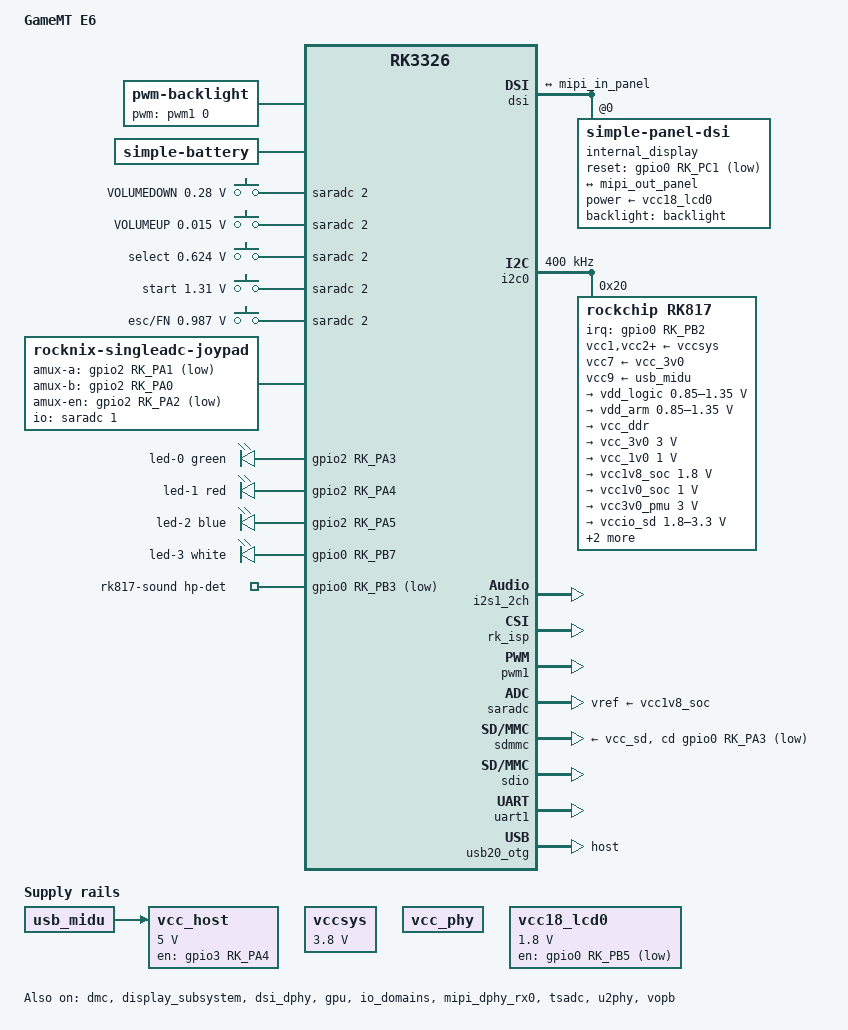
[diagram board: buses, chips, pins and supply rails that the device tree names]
// SPDX-License-Identifier: (GPL-2.0+ OR MIT)
/*
 * GameMT E6 (RK3326S / PX30S) — ported from 6.18 DTS for ROCKNIX 5.10 BSP.
 *
 * Copyright (C) 2022-26 AURKNIX (https://github.com/AveyondFly)
 */

/dts-v1/;
#include <dt-bindings/display/drm_mipi_dsi.h>
#include <dt-bindings/gpio/gpio.h>
#include <dt-bindings/input/input.h>
#include <dt-bindings/leds/common.h>
#include <dt-bindings/pinctrl/rockchip.h>
#include <dt-bindings/soc/rockchip-system-status.h>
#include "rk3326.dtsi"

/ {
	model = "GameMT E6";
	compatible = "gmmt,e6", "rockchip,rk3326";
	
	aliases {
		mmc0 = &sdmmc;
		mmc1 = &emmc;
		mmc2 = &sdio;
	};
	
	chosen {
		systemd.debug_shell = "ttyS0";
	};

	reserved-memory {
		#address-cells = <2>;
		#size-cells = <2>;
		ranges;

		drm_logo: drm-logo@00000000 {
			compatible = "rockchip,drm-logo";
			reg = <0x0 0x0 0x0 0x0>;
		};
	};
	
	backlight: backlight {
		compatible = "pwm-backlight";
		pwms = <&pwm1 0 25000 0>;
		brightness-levels = <
		0   1   2   3   4   5   6   7
		8   9  10  11  12  13  14  15
		16  17  18  19  20  21  22  23
		24  25  26  27  28  29  30  31
		32  33  34  35  36  37  38  39
		40  41  42  43  44  45  46  47
		48  49  50  51  52  53  54  55
		56  57  58  59  60  61  62  63
		64  65  66  67  68  69  70  71
		72  73  74  75  76  77  78  79
		80  81  82  83  84  85  86  87
		88  89  90  91  92  93  94  95
		96  97  98  99 100 101 102 103
		104 105 106 107 108 109 110 111
		112 113 114 115 116 117 118 119
		120 121 122 123 124 125 126 127
		128 129 130 131 132 133 134 135
		136 137 138 139 140 141 142 143
		144 145 146 147 148 149 150 151
		152 153 154 155 156 157 158 159
		160 161 162 163 164 165 166 167
		168 169 170 171 172 173 174 175
		176 177 178 179 180 181 182 183
		184 185 186 187 188 189 190 191
		192 193 194 195 196 197 198 199
		200 201 202 203 204 205 206 207
		208 209 210 211 212 213 214 215
		216 217 218 219 220 221 222 223
		224 225 226 227 228 229 230 231
		232 233 234 235 236 237 238 239
		240 241 242 243 244 245 246 247
		248 249 250 251 252 253 254 255>;
		default-brightness-level = <128>;
	};
	
	battery: battery {
		compatible = "simple-battery";
		charge-full-design-microamp-hours = <3000000>;
		charge-term-current-microamp = <200000>;
		constant-charge-current-max-microamp = <1500000>;
		constant-charge-voltage-max-microvolt = <4200000>;
		factory-internal-resistance-micro-ohms = <100000>;
		voltage-max-design-microvolt = <4100000>;
		voltage-min-design-microvolt = <3300000>;
		
		ocv-capacity-celsius = <20>;
		ocv-capacity-table-0 =
		<4046950 100>, <4001920 95>, <3967900 90>, <3940000 85>,
		<3910000 80>, <3870000 75>, <3830000 70>, <3790000 65>,
		<3750000 60>, <3720000 55>, <3690000 50>, <3650000 45>,
		<3610000 40>, <3570000 35>, <3540000 30>, <3500000 25>,
		<3460000 20>, <3420000 15>, <3380000 10>, <3340000 5>,
		<3300000 0>;
	};
	
	adc_keys: adc-keys {
		compatible = "adc-keys";
		io-channels = <&saradc 2>;
		io-channel-names = "buttons";
		keyup-threshold-microvolt = <1800000>;
		poll-interval = <60>;
		
		vol-down-key {
			label = "VOLUMEDOWN";
			linux,code = <KEY_VOLUMEDOWN>;
			press-threshold-microvolt = <280000>;
		};
		
		vol-up-key {
			label = "VOLUMEUP";
			linux,code = <KEY_VOLUMEUP>;
			press-threshold-microvolt = <15000>;
		};
		select-key {
			label = "select";
			linux,code = <KEY_RIGHTSHIFT>;
			press-threshold-microvolt = <624000>;
		};
		
		start-key {
			label = "start";
			linux,code = <KEY_ENTER>;
			press-threshold-microvolt = <1310000>;//<987000>;
		};
		
		fn-key {
			label = "esc/FN";
			linux,code = <KEY_ESC>;
			press-threshold-microvolt = <987000>;//<1310000>;
		};
	};
	
	joypad: rocknix-singleadc-joypad {
		compatible = "rocknix-singleadc-joypad";
		
		joypad-name = "retrogame_joypad";
		joypad-product = <0x1101>;
		joypad-revision = <0x0100>;
		joypad-vendor = <0x484B>;
		
		status = "okay";
		
		/* gpio pincontrol setup */
		pinctrl-names = "default";
		pinctrl-0 = <&btn_pins_ctrl>;
		
		/* Analog mux define */
		io-channel-names = "amux_adc";
		io-channels = <&saradc 1>;
		
		/* adc mux channel count */
		amux-count = <4>;
		amux-channel-mapping = <0 1 2 3>;
		/* adc mux select(a,b) gpio */
		amux-a-gpios = <&gpio2 RK_PA1 GPIO_ACTIVE_LOW>;
		amux-b-gpios = <&gpio2 RK_PA0 GPIO_ACTIVE_HIGH>;
		/* adc mux enable gpio */
		amux-en-gpios = <&gpio2 RK_PA2 GPIO_ACTIVE_LOW>;
		
		/* adc calculate scale */
		button-adc-scale = <2>;
		
		/* adc deadzone range  */
		button-adc-deadzone = <64>;
		
		/*
		specifies fuzz value that is used to filter noise from
		the event stream.
		*/
		button-adc-fuzz = <32>;
		button-adc-flat = <32>;
		
		/*
		Analog Stick data tuning value(precent)
		p = positive direction, n = negative direction
		report value = (real_adc_data * tuning_value) / 100
		*/
		abs_x-p-tuning = <200>;
		abs_x-n-tuning = <800>;
		
		abs_y-p-tuning = <200>;
		abs_y-n-tuning = <800>;
		
		abs_rx-p-tuning = <800>;
		abs_rx-n-tuning = <1000>;
		
		abs_ry-p-tuning = <800>;
		abs_ry-n-tuning = <1400>;
		
		/* poll device interval (ms), adc read interval */
		poll-interval = <10>;
		
		/* gpio button auto repeat set value : default disable */
		/*
		autorepeat;
		*/
		
		sw1 {
			gpios = <&gpio3 RK_PD1 GPIO_ACTIVE_LOW>;
			label = "GPIO DPAD-UP";
			linux,code = <BTN_DPAD_UP>;
		};
		sw2 {
			gpios = <&gpio3 RK_PD2 GPIO_ACTIVE_LOW>;
			label = "GPIO DPAD-DOWN";
			linux,code = <BTN_DPAD_DOWN>;
		};
		sw3 {
			gpios = <&gpio3 RK_PB5 GPIO_ACTIVE_LOW>;
			label = "GPIO DPAD-LEFT";
			linux,code = <BTN_DPAD_LEFT>;
		};
		sw4 {
			gpios = <&gpio3 RK_PD0 GPIO_ACTIVE_LOW>;
			label = "GPIO DPAD-RIGHT";
			linux,code = <BTN_DPAD_RIGHT>;
		};
		sw5 {
			gpios = <&gpio3 RK_PC4 GPIO_ACTIVE_LOW>;
			label = "GPIO BTN-A";
			linux,code = <BTN_EAST>;
		};
		sw6 {
			gpios = <&gpio3 RK_PC5 GPIO_ACTIVE_LOW> ;
			label = "GPIO BTN-B";
			linux,code = <BTN_SOUTH>;
		};
		sw7 {
			gpios = <&gpio3 RK_PB3 GPIO_ACTIVE_LOW>;
			label = "GPIO BTN-Y";
			linux,code = <BTN_WEST>;
		};
		sw8 {
			gpios = <&gpio3 RK_PB2 GPIO_ACTIVE_LOW>;
			label = "GPIO BTN-X";
			linux,code = <BTN_NORTH>;
		};
		sw9 {
			gpios = <&gpio3 RK_PB4 GPIO_ACTIVE_LOW>;
			label = "GPIO F2";
			linux,code = <BTN_MODE>;//<BTN_TRIGGER_HAPPY2>;
		};
		sw10 {
			gpios = <&gpio0 RK_PC2 GPIO_ACTIVE_LOW>;
			label = "GPIO F4";
			linux,code = <BTN_SELECT>;//<BTN_TRIGGER_HAPPY4>;
		};
		/* this sw11 entry is SPECIAL, most RK3566 devices do not have
		this physical button but for the sake of keeping compatibility
		with ES and retroarch, this phantom button and offset will
		allow existing userspace programs to work without doing any
		new remapping thus saving lots of headaches and extra work */
		sw11 {
			gpios = <&gpio3 RK_PA7 GPIO_ACTIVE_LOW>;
			label = "GPIO BTN_F3";
			linux,code = <BTN_START>;//<BTN_TRIGGER_HAPPY1>;
		};
		sw12 {
			gpios = <&gpio2 RK_PB1 GPIO_ACTIVE_LOW>;
			label = "BTN_THUMBL";
			linux,code = <BTN_THUMBL>;
		};
		sw13 {
			gpios = <&gpio2 RK_PB2 GPIO_ACTIVE_LOW>;
			label = "BTN_THUMBR";
			linux,code = <BTN_THUMBR>;
		};
		sw14 {
			gpios = <&gpio3 RK_PC1 GPIO_ACTIVE_LOW>;
			label = "GPIO BTN_TR";
			linux,code = <BTN_TR>;
		};
		sw15 {
			gpios = <&gpio3 RK_PC0 GPIO_ACTIVE_LOW>;
			label = "GPIO BTN_TR2";
			linux,code = <BTN_TR2>;
		};
		sw16 {
			gpios = <&gpio3 RK_PC3 GPIO_ACTIVE_LOW>;
			label = "GPIO BTN_TL";
			linux,code = <BTN_TL>;
		};
		sw17 {
			gpios = <&gpio3 RK_PC2 GPIO_ACTIVE_LOW>;
			label = "GPIO BTN_TL2";
			linux,code = <BTN_TL2>;
		};
	};
	
	
	leds: gpio-leds {
		compatible = "gpio-leds";
		pinctrl-0 = <&led_pins>;
		pinctrl-names = "default";
		
		led-0 {
			color = <LED_COLOR_ID_GREEN>;
			default-state = "off";
			function = LED_FUNCTION_STATUS;
			gpios = <&gpio2 RK_PA3 GPIO_ACTIVE_HIGH>;
		};
		
		led-1 {
			color = <LED_COLOR_ID_RED>;
			default-state = "off";
			function = LED_FUNCTION_CHARGING;
			gpios = <&gpio2 RK_PA4 GPIO_ACTIVE_HIGH>;
		};
		led-2 {
			color = <LED_COLOR_ID_BLUE>;
			default-state = "off";
			function = LED_FUNCTION_STATUS;
			gpios = <&gpio2 RK_PA5 GPIO_ACTIVE_HIGH>;
		};
		led-3 {
			color = <LED_COLOR_ID_WHITE>;
			default-state = "off";
			function = LED_FUNCTION_STATUS;
			gpios = <&gpio0 RK_PB7 GPIO_ACTIVE_HIGH>;
		};
	};
	
	
	rk817-sound {
		compatible = "rockchip,multicodecs-card";
		rockchip,card-name = "rockchip-rk817";
		hp-det-gpio = <&gpio0 RK_PB3 GPIO_ACTIVE_LOW>;
		rockchip,format = "i2s";
		rockchip,mclk-fs = <256>;
		rockchip,cpu = <&i2s1_2ch>;
		rockchip,codec = <&rk817_codec>;
		pinctrl-names = "default";
		pinctrl-0 = <&hp_det>;
		/* 5.10 rk817 codec only exposes HPOL/HPOR outputs */
		rockchip,audio-routing =
			"Headphone", "HPOL",
			"Headphone", "HPOR",
			"Speaker", "HPOL",
			"Speaker", "HPOR";
	};
	
	vccsys: vccsys {
		compatible = "regulator-fixed";
		regulator-name = "vcc3v8_sys";
		regulator-always-on;
		regulator-min-microvolt = <3800000>;
		regulator-max-microvolt = <3800000>;
	};
	
	vcc-phy-regulator {
		compatible = "regulator-fixed";
		regulator-name = "vcc_phy";
		regulator-always-on;
		regulator-boot-on;
	};
	
	vcc_host: vcc_host {
		compatible = "regulator-fixed";
		regulator-name = "vcc_host";
		regulator-min-microvolt = <5000000>;
		regulator-max-microvolt = <5000000>;
		gpio = <&gpio3 RK_PA4 GPIO_ACTIVE_HIGH>;
		pinctrl-0 = <&vcc5_usb>;
		pinctrl-names = "default";
		enable-active-high;
		regulator-always-on;
		regulator-boot-on;
		vin-supply = <&usb_midu>;
	};

	/* Match vendor rk3326s_orig: enable-active-low (NOT enable-active-high).
	 * For regulator-fixed, gpiolib ignores GPIO_ACTIVE_* in the phandle and
	 * uses only presence/absence of enable-active-high for polarity.
	 */
	vcc18_lcd0: vcc18-lcd0 {
		compatible = "regulator-fixed";
		regulator-name = "vcc18_lcd_n";
		regulator-min-microvolt = <1800000>;
		regulator-max-microvolt = <1800000>;
		gpio = <&gpio0 RK_PB5 GPIO_ACTIVE_LOW>;
		enable-active-low;
		pinctrl-0 = <&lcd_en>;
		pinctrl-names = "default";
		regulator-boot-on;

		regulator-state-mem {
			regulator-off-in-suspend;
		};
	};
};

&dmc {
	center-supply = <&vdd_logic>;
	system-status-freq = <
		/* system status         freq(KHz) — px30s-dmc-opp: 194/328/666 */
		SYS_STATUS_NORMAL       666000
		SYS_STATUS_REBOOT       328000
		SYS_STATUS_SUSPEND      194000
		SYS_STATUS_VIDEO_1080P  666000
		SYS_STATUS_BOOST        666000
		SYS_STATUS_ISP          666000
		SYS_STATUS_PERFORMANCE  666000
	>;
	auto-min-freq = <328000>;
	auto-freq-en = <0>;
	status = "okay";
};

&bus_apll {
	bus-supply = <&vdd_logic>;
	status = "okay";
};

&cpu0 {
	cpu-supply = <&vdd_arm>;
};

&cpu1 {
	cpu-supply = <&vdd_arm>;
};

&cpu2 {
	cpu-supply = <&vdd_arm>;
};

&cpu3 {
	cpu-supply = <&vdd_arm>;
};

&cru {
	assigned-clocks = <&cru PLL_NPLL>,
	<&cru ACLK_BUS_PRE>, <&cru ACLK_PERI_PRE>,
	<&cru HCLK_BUS_PRE>, <&cru HCLK_PERI_PRE>,
	<&cru PCLK_BUS_PRE>, <&cru SCLK_GPU>;
	
	assigned-clock-rates = <1188000000>,
	<200000000>, <200000000>,
	<150000000>, <150000000>,
	<100000000>, <200000000>;
};

&display_subsystem {
	status = "okay";
	logo-memory-region = <&drm_logo>;

	route {
		route_lvds: route-lvds {
			status = "disabled";
			logo,uboot = "logo.bmp";
			logo,kernel = "logo_kernel.bmp";
			logo,mode = "center";
			charge_logo,mode = "center";
			connect = <&vopb_out_lvds>;
		};

		route_dsi: route-dsi {
			status = "okay";
			logo,uboot = "logo.bmp";
			logo,kernel = "logo_kernel.bmp";
			logo,mode = "center";
			charge_logo,mode = "center";
			connect = <&vopb_out_dsi>;
		};

		route_rgb: route-rgb {
			status = "disabled";
			logo,uboot = "logo.bmp";
			logo,kernel = "logo_kernel.bmp";
			logo,mode = "center";
			charge_logo,mode = "center";
			connect = <&vopb_out_rgb>;
		};
	};
};

&dsi {
	status = "okay";
	
	ports {
		mipi_out: port@1 {
			reg = <1>;
			
			mipi_out_panel: endpoint {
				remote-endpoint = <&mipi_in_panel>;
			};
		};
	};
	
	/* Match vendor rk3326s_orig.dts: simple-panel-dsi + vcc18_lcd_n */
	internal_display: panel@0 {
		compatible = "simple-panel-dsi";
		reg = <0>;
		backlight = <&backlight>;
		power-supply = <&vcc18_lcd0>;
		reset-gpios = <&gpio0 RK_PC1 GPIO_ACTIVE_LOW>;
		pinctrl-names = "default";
		pinctrl-0 = <&lcd_rst>;
		rotation = <90>;

		prepare-delay-ms = <120>;
		reset-delay-ms = <200>;
		init-delay-ms = <120>;
		enable-delay-ms = <20>;
		disable-delay-ms = <20>;
		unprepare-delay-ms = <120>;

		width-mm = <64>;
		height-mm = <48>;

		dsi,flags = <(MIPI_DSI_MODE_VIDEO | MIPI_DSI_MODE_VIDEO_BURST |
			      MIPI_DSI_MODE_EOT_PACKET | MIPI_DSI_MODE_LPM)>;
		dsi,format = <MIPI_DSI_FMT_RGB888>;
		dsi,lanes = <2>;

		/* Same init as vendor / previously working generic-dsi seq */
		panel-init-sequence = [
			39 00 04 b9 f1 08 01
			39 00 05 b1 22 1e 1e 87
			15 00 02 b2 22
			39 00 09 b3 01 00 06 06 18 13 39 35
			39 00 12 ba 31 00 44 25 91 0a 00 00 c1 00 00 00 0d 02 4f b9 ee
			39 00 06 e3 05 05 01 01 00
			15 00 02 b4 02
			39 00 03 b5 05 05
			39 00 03 b6 a9 a9
			39 00 03 b8 64 20
			15 00 02 cc 02
			15 00 02 bc 47
			/* vendor len=0x34 (one extra trailing 00 vs old generic-dsi) */
			39 00 34 e9 00 00 05 03 66 0a 80 12 30 00 37 07 0a 80
				37 00 06 01 00 00 00 08 20 24 69 98 80 48 88 88
				88 31 35 79 98 81 58 88 88 88 00 00 00 00 00 00
				00 00 00 00 00
			39 00 23 e0 00 02 07 14 16 30 10 2d 07 0c 0d 0e 12 11 13
				18 1c 00 02 07 30 20 30 10 2d 07 0c 0d 12 12 11 13
				0c 15
			05 c8 01 11
			05 64 01 29
		];

		panel-exit-sequence = [
			05 10 01 28
			05 20 01 10
		];

		display-timings {
			native-mode = <&timing0>;

			timing0: timing0 {
				clock-frequency = <28000000>;
				hactive = <480>;
				vactive = <854>;
				hfront-porch = <14>;
				hsync-len = <2>;
				hback-porch = <24>;
				vfront-porch = <20>;
				vsync-len = <2>;
				vback-porch = <15>;
				hsync-active = <0>;
				vsync-active = <0>;
				de-active = <0>;
				pixelclk-active = <0>;
			};
		};

		port {
			mipi_in_panel: endpoint {
				remote-endpoint = <&mipi_out_panel>;
			};
		};
	};
};

&dsi_dphy {
	compatible = "rockchip,px30s-dsi-dphy", "rockchip,px30-dsi-dphy";
	status = "okay";
};

&gpu {
	mali-supply = <&vdd_logic>;
	status = "okay";
};

&i2c0 {
	clock-frequency = <400000>;
	i2c-scl-falling-time-ns = <16>;
	i2c-scl-rising-time-ns = <280>;
	status = "okay";
	
	rk817: pmic@20 {
		compatible = "rockchip,rk817";
		reg = <0x20>;
		interrupt-parent = <&gpio0>;
		interrupts = <RK_PB2 IRQ_TYPE_LEVEL_LOW>;
		clock-output-names = "rk808-clkout1", "xin32k";
		pinctrl-names = "default";
		pinctrl-0 = <&pmic_int>;
		rockchip,system-power-controller;
		wakeup-source;
		#clock-cells = <1>;
		
		vcc1-supply = <&vccsys>;
		vcc2-supply = <&vccsys>;
		vcc3-supply = <&vccsys>;
		vcc4-supply = <&vccsys>;
		vcc5-supply = <&vccsys>;
		vcc6-supply = <&vccsys>;
		vcc7-supply = <&vcc_3v0>;
		vcc8-supply = <&vccsys>;
		vcc9-supply = <&usb_midu>;
		
		regulators {
			vdd_logic: DCDC_REG1 {
				regulator-name = "vdd_logic";
				regulator-min-microvolt = <850000>;
				regulator-max-microvolt = <1350000>;
				regulator-ramp-delay = <6001>;
				regulator-initial-mode = <0x2>;
				regulator-always-on;
				regulator-boot-on;
				
				regulator-state-mem {
					regulator-on-in-suspend;
					regulator-suspend-microvolt = <950000>;
				};
			};
			
			vdd_arm: DCDC_REG2 {
				regulator-name = "vdd_arm";
				regulator-min-microvolt = <850000>;
				regulator-max-microvolt = <1350000>;
				regulator-ramp-delay = <6001>;
				regulator-initial-mode = <0x2>;
				regulator-always-on;
				regulator-boot-on;
				
				regulator-state-mem {
					regulator-off-in-suspend;
					regulator-suspend-microvolt = <950000>;
				};
			};
			
			vcc_ddr: DCDC_REG3 {
				regulator-name = "vcc_ddr";
				regulator-initial-mode = <0x2>;
				regulator-always-on;
				regulator-boot-on;
				
				regulator-state-mem {
					regulator-on-in-suspend;
				};
			};
			
			vcc_3v0: DCDC_REG4 {
				regulator-name = "vcc_3v0";
				regulator-min-microvolt = <3000000>;
				regulator-max-microvolt = <3000000>;
				regulator-initial-mode = <0x2>;
				regulator-always-on;
				regulator-boot-on;
				
				regulator-state-mem {
					regulator-off-in-suspend;
					regulator-suspend-microvolt = <3000000>;
				};
			};
			
			vcc_1v0: LDO_REG1 {
				regulator-name = "vcc_1v0";
				regulator-always-on;
				regulator-boot-on;
				regulator-min-microvolt = <1000000>;
				regulator-max-microvolt = <1000000>;
				
				regulator-state-mem {
					regulator-on-in-suspend;
					regulator-suspend-microvolt = <1000000>;
				};
			};
			
			vcc1v8_soc: LDO_REG2 {
				regulator-name = "vcc1v8_soc";
				regulator-min-microvolt = <1800000>;
				regulator-max-microvolt = <1800000>;
				regulator-always-on;
				regulator-boot-on;
				
				regulator-state-mem {
					regulator-on-in-suspend;
					regulator-suspend-microvolt = <1800000>;
				};
			};
			
			vcc1v0_soc: LDO_REG3 {
				regulator-name = "vcc1v0_soc";
				regulator-min-microvolt = <1000000>;
				regulator-max-microvolt = <1000000>;
				regulator-always-on;
				regulator-boot-on;
				
				regulator-state-mem {
					regulator-on-in-suspend;
					regulator-suspend-microvolt = <1000000>;
				};
			};
			
			vcc3v0_pmu: LDO_REG4 {
				regulator-name = "vcc3v0_pmu";
				regulator-min-microvolt = <3000000>;
				regulator-max-microvolt = <3000000>;
				regulator-always-on;
				regulator-boot-on;
				
				regulator-state-mem {
					regulator-on-in-suspend;
					regulator-suspend-microvolt = <3000000>;
				};
			};
			
			vccio_sd: LDO_REG5 {
				regulator-name = "vccio_sd";
				regulator-min-microvolt = <1800000>;
				regulator-max-microvolt = <3300000>;
				regulator-always-on;
				regulator-boot-on;
				
				regulator-state-mem {
					regulator-on-in-suspend;
					regulator-suspend-microvolt = <3300000>;
				};
			};
			
			vcc_sd: LDO_REG6 {
				regulator-name = "vcc_sd";
				regulator-min-microvolt = <2800000>;
				regulator-max-microvolt = <3000000>;
				regulator-always-on;
				regulator-boot-on;

				regulator-state-mem {
					regulator-on-in-suspend;
					regulator-suspend-microvolt = <3000000>;
				};
			};
			
			vcc2v8_dvp: LDO_REG7 {
				regulator-name = "vcc2v8_dvp";
				regulator-min-microvolt = <2800000>;
				regulator-max-microvolt = <2800000>;
				regulator-boot-on;
				
				regulator-state-mem {
					regulator-off-in-suspend;
					regulator-suspend-microvolt = <2800000>;
				};
			};
			
			vcc1v8_dvp: LDO_REG8 {
				regulator-name = "vcc1v8_dvp";
				regulator-min-microvolt = <1800000>;
				regulator-max-microvolt = <1800000>;
				regulator-boot-on;
				
				regulator-state-mem {
					regulator-off-in-suspend;
					regulator-suspend-microvolt = <1800000>;
				};
			};
			
			vdd1v5_dvp: LDO_REG9 {
				regulator-min-microvolt = <1500000>;
				regulator-max-microvolt = <1500000>;
				regulator-name = "vdd1v5_dvp";
				regulator-boot-on;
				
				regulator-state-mem {
					regulator-off-in-suspend;
					regulator-suspend-microvolt = <1500000>;
				};
			};
			
			usb_midu: BOOST {
				regulator-name = "usb_midu";
				regulator-min-microvolt = <4700000>;
				regulator-max-microvolt = <5400000>;
				regulator-always-on;
				regulator-boot-on;
			};

			otg_switch: OTG_SWITCH {
				regulator-name = "otg_switch";

				regulator-state-mem {
					regulator-off-in-suspend;
				};
			};
			
		};
		
		battery {
			compatible = "rk817,battery";
			/* Derived from 6.18 simple-battery OCV table (uV -> mV) */
			ocv_table = <4047 4002 3968 3940 3910 3870 3830 3790
				     3750 3720 3690 3650 3610 3570 3540 3500
				     3460 3420 3380 3340 3300>;
			design_capacity = <3000>;
			design_qmax = <3300>;
			bat_res = <100>;
			sleep_enter_current = <300>;
			sleep_exit_current = <300>;
			sleep_filter_current = <100>;
			power_off_thresd = <3300>;
			zero_algorithm_vol = <3850>;
			max_soc_offset = <60>;
			monitor_sec = <5>;
			sample_res = <10>;
			virtual_power = <0>;
			fb_temperature = <105>;
			energy_mode = <0>;
			zero_reserve_dsoc = <10>;
			low_power_sleep = <0>;
		};
		
		rk817_charger: charger {
			compatible = "rk817,charger";
			min_input_voltage = <4500>;
			max_input_current = <1500>;
			max_chrg_current = <1500>;
			max_chrg_voltage = <4200>;
			chrg_term_mode = <0>;
			chrg_finish_cur = <200>;
			virtual_power = <0>;
			dc_det_adc = <0>;
			otg5v_suspend_enable = <1>;
			power_dc2otg = <0>;
			gate_function_disable = <1>;
			extcon = <&u2phy>;
			sample_res = <10>;
			/* USB is host-mode; use PMIC PLUG_IN_STS for charge UI */
			rockchip,charger-use-pmic-plug;
			rocknix,fixed-usb-host-vbus;
		};
		
		rk817_codec: codec {
			compatible = "rockchip,rk817-codec";
			#sound-dai-cells = <0>;
			clocks = <&cru SCLK_I2S1_OUT>;
			clock-names = "mclk";
			pinctrl-names = "default";
			pinctrl-0 = <&i2s1_2ch_mclk>;
			hp-volume = <20>;
			spk-volume = <3>;
			status = "okay";
		};
	};
};

/* I2S 1 Channel Used Header(P2):1(GPIO2.C3),2(.C2), 3(.C1), 4(.C5), 5(.C4) */
&i2s1_2ch {
	status = "okay";
	#sound-dai-cells = <0>;
};

&io_domains {
	/* Match vendor rk3326s_orig.dts: vccio3/4/5 = vcc_3v0 */
	vccio1-supply = <&vcc1v8_soc>;
	vccio2-supply = <&vccio_sd>;
	vccio3-supply = <&vcc_3v0>;
	vccio4-supply = <&vcc_3v0>;
	vccio5-supply = <&vcc_3v0>;
	vccio6-supply = <&vcc_3v0>;
	status = "okay";
};

&rk_isp {
	status = "okay";
};

&isp_mmu {
	status = "okay";
};

&pmu_io_domains {
	pmuio1-supply = <&vcc3v0_pmu>;
	pmuio2-supply = <&vcc3v0_pmu>;
	status = "okay";
};

&mipi_dphy_rx0 {
	status = "okay";
};

&pwm1 {
	status = "okay";
};

&saradc {
	vref-supply = <&vcc1v8_soc>;
	status = "okay";
};

&sdmmc {
	cap-sd-highspeed;
	card-detect-delay = <200>;
	cd-gpios = <&gpio0 RK_PA3 GPIO_ACTIVE_LOW>; /*[> ff370000 PD_SDCARD CD GPIO <]*/
	sd-uhs-sdr12;
	sd-uhs-sdr25;
	sd-uhs-sdr50;
	sd-uhs-sdr104;
	vmmc-supply = <&vcc_sd>;
	vqmmc-supply = <&vccio_sd>;
	status = "okay";
};

&sdio {
	status = "okay";
};


/* eMMC disabled for now — focus on display; revisit later */
&emmc {
	status = "disabled";
};

&tsadc {
	compatible = "rockchip,px30s-tsadc";
	status = "okay";
};

&otp {
	compatible = "rockchip,px30s-otp", "rockchip,px30-otp";
};

&u2phy {
	status = "okay";
	
	u2phy_host: host-port {
		status = "okay";
	};
	
	u2phy_otg: otg-port {
		status = "okay";
	};
};

/* FIQ Header(P2): 2(RXD:GPIO2.B4),3(TXD:.B6) */
&uart2 {
	status = "disabled";
};

&uart1 {
	status = "okay";
};

&usb20_otg {
	status = "okay";
	dr_mode = "host";
	extcon = <&u2phy>;
};

&vopb {
	status = "okay";
};

&vopb_mmu {
	status = "okay";
};

&pwm0 {
	status = "disabled";
};

&pinctrl {
	btns {
		btn_pins_ctrl: btn-pins-ctrl {
			rockchip,pins =
			<3 RK_PC0 RK_FUNC_GPIO &pcfg_pull_up>,
			<3 RK_PC1 RK_FUNC_GPIO &pcfg_pull_up>,
			<3 RK_PC2 RK_FUNC_GPIO &pcfg_pull_up>,
			<3 RK_PC3 RK_FUNC_GPIO &pcfg_pull_up>,
			<3 RK_PC4 RK_FUNC_GPIO &pcfg_pull_up>,
			<3 RK_PC5 RK_FUNC_GPIO &pcfg_pull_up>,
			<3 RK_PD0 RK_FUNC_GPIO &pcfg_pull_up>,
			<3 RK_PD1 RK_FUNC_GPIO &pcfg_pull_up>,
			<3 RK_PD2 RK_FUNC_GPIO &pcfg_pull_up>,
			<3 RK_PB2 RK_FUNC_GPIO &pcfg_pull_up>,
			<3 RK_PB3 RK_FUNC_GPIO &pcfg_pull_up>,
			<3 RK_PB4 RK_FUNC_GPIO &pcfg_pull_up>,
			<3 RK_PB5 RK_FUNC_GPIO &pcfg_pull_up>,
			<3 RK_PA7 RK_FUNC_GPIO &pcfg_pull_up>,
			<2 RK_PB1 RK_FUNC_GPIO &pcfg_pull_up>,
			<2 RK_PB2 RK_FUNC_GPIO &pcfg_pull_up>,
			<0 RK_PC2 RK_FUNC_GPIO &pcfg_pull_up>;
		};
		
		btn_pins_vol: btn-pins-vol {
			rockchip,pins = <3 RK_PD2 RK_FUNC_GPIO &pcfg_pull_up>,
			<3 RK_PD3 RK_FUNC_GPIO &pcfg_pull_up>;
		};
	};
	
	headphone {
		hp_det: hp-det {
			rockchip,pins = <0 RK_PB3 RK_FUNC_GPIO &pcfg_pull_up>;
		};
	};
	
	gpio-lcd {
		lcd_rst: lcd-rst {
			rockchip,pins = <0 RK_PC1 RK_FUNC_GPIO &pcfg_pull_none>;
		};

		lcd_en: lcd-en {
			rockchip,pins = <0 RK_PB5 RK_FUNC_GPIO &pcfg_pull_none>;
		};
	};
	
	vcc5-usb {
		vcc5_usb: vcc5-usb {
			rockchip,pins = <3 RK_PA4 RK_FUNC_GPIO &pcfg_pull_none>;
		};
	};
	
	gpio-led {
		led_pins: led-pins {
			rockchip,pins =
			<2 RK_PA5 RK_FUNC_GPIO &pcfg_pull_none>,
			<2 RK_PA3 RK_FUNC_GPIO &pcfg_pull_none>,
			<0 RK_PB7 RK_FUNC_GPIO &pcfg_pull_none>,
			<2 RK_PA4 RK_FUNC_GPIO &pcfg_pull_none>;
		};
	};
	
	pmic {
		dc_det: dc-det {
			rockchip,pins = <0 RK_PB3 RK_FUNC_GPIO &pcfg_pull_up>;
		};
		
		pmic_int: pmic-int {
			rockchip,pins = <0 RK_PB2 RK_FUNC_GPIO &pcfg_pull_up>;
		};
		
		soc_slppin_gpio: soc_slppin_gpio {
			rockchip,pins = <0 RK_PA4 RK_FUNC_GPIO &pcfg_output_low>;
		};
		
		soc_slppin_rst: soc_slppin_rst {
			rockchip,pins = <0 RK_PA4 2 &pcfg_pull_none>;
		};
		
		soc_slppin_slp: soc_slppin_slp {
			rockchip,pins = <0 RK_PA4 1 &pcfg_pull_none>;
		};
	};
};
